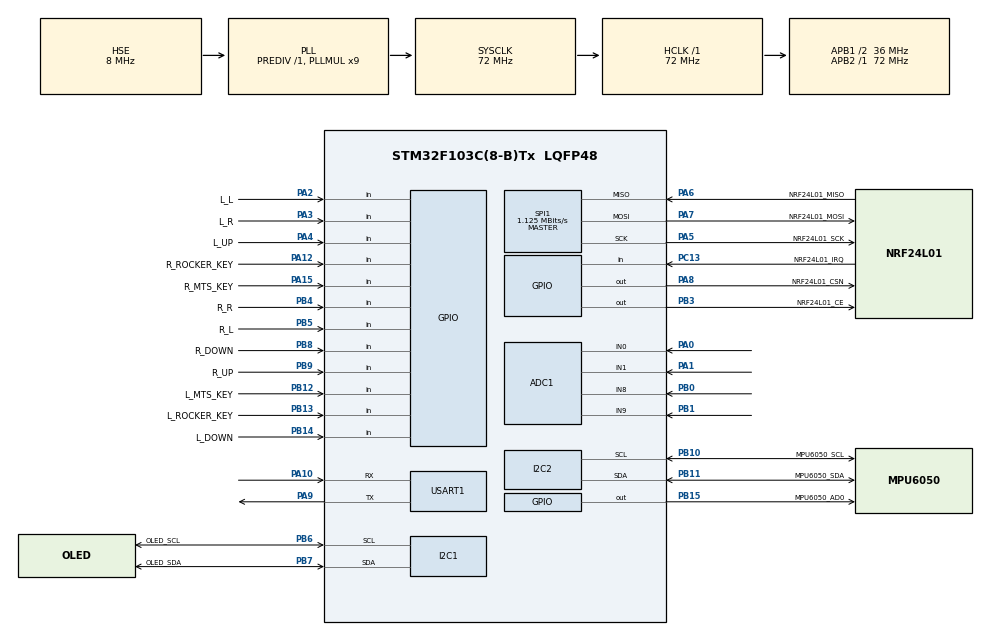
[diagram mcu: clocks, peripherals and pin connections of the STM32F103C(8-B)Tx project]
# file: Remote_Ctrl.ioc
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ADC1.Channel-1\#ChannelRegularConversion=ADC_CHANNEL_0
ADC1.Channel-2\#ChannelRegularConversion=ADC_CHANNEL_1
ADC1.Channel-3\#ChannelRegularConversion=ADC_CHANNEL_8
ADC1.Channel-4\#ChannelRegularConversion=ADC_CHANNEL_9
ADC1.ContinuousConvMode=DISABLE
ADC1.DataAlign=ADC_DATAALIGN_RIGHT
ADC1.DiscontinuousConvMode=DISABLE
ADC1.ExternalTrigConv=ADC_EXTERNALTRIGCONV_T3_TRGO
ADC1.NbrOfConversion=4
ADC1.NbrOfConversionFlag=1
ADC1.Rank-1\#ChannelRegularConversion=1
ADC1.Rank-2\#ChannelRegularConversion=2
ADC1.Rank-3\#ChannelRegularConversion=3
ADC1.Rank-4\#ChannelRegularConversion=4
ADC1.SamplingTime-1\#ChannelRegularConversion=ADC_SAMPLETIME_55CYCLES_5
ADC1.SamplingTime-2\#ChannelRegularConversion=ADC_SAMPLETIME_55CYCLES_5
ADC1.SamplingTime-3\#ChannelRegularConversion=ADC_SAMPLETIME_55CYCLES_5
ADC1.SamplingTime-4\#ChannelRegularConversion=ADC_SAMPLETIME_55CYCLES_5
ADC1.master=1
Dma.ADC1.0.Direction=DMA_PERIPH_TO_MEMORY
Dma.ADC1.0.Instance=DMA1_Channel1
Dma.ADC1.0.MemDataAlignment=DMA_MDATAALIGN_HALFWORD
Dma.ADC1.0.MemInc=DMA_MINC_ENABLE
Dma.ADC1.0.Mode=DMA_CIRCULAR
Dma.ADC1.0.PeriphDataAlignment=DMA_PDATAALIGN_HALFWORD
Dma.ADC1.0.PeriphInc=DMA_PINC_DISABLE
Dma.ADC1.0.Priority=DMA_PRIORITY_LOW
Dma.Request0=ADC1
Mcu.Family=STM32F1
Mcu.Name=STM32F103C(8-B)Tx
Mcu.Package=LQFP48
NVIC.DMA1_Channel1_IRQn=true\:14\:0\:true\:false\:true\:false\:true\:true
NVIC.PriorityGroup=NVIC_PRIORITYGROUP_4
NVIC.TIM1_UP_IRQn=true\:0\:0\:false\:false\:true\:true\:true\:true
NVIC.USART1_IRQn=true\:1\:0\:true\:false\:true\:true\:true\:true
PA0-WKUP.Signal=ADCx_IN0
PA1.Signal=ADCx_IN1
PA10.Mode=Asynchronous
PA10.Signal=USART1_RX
PA12.GPIO_Label=R_ROCKER_KEY
PA12.GPIO_PuPd=GPIO_PULLUP
PA12.Signal=GPIO_Input
PA13.Mode=Serial_Wire
PA13.Signal=SYS_JTMS-SWDIO
PA14.Mode=Serial_Wire
PA14.Signal=SYS_JTCK-SWCLK
PA15.GPIO_Label=R_MTS_KEY
PA15.GPIO_PuPd=GPIO_PULLUP
PA15.Signal=GPIO_Input
PA2.GPIO_Label=L_L
PA2.GPIO_PuPd=GPIO_PULLUP
PA2.Signal=GPIO_Input
PA3.GPIO_Label=L_R
PA3.GPIO_PuPd=GPIO_PULLUP
PA3.Signal=GPIO_Input
PA4.GPIO_Label=L_UP
PA4.GPIO_PuPd=GPIO_PULLUP
PA4.Signal=GPIO_Input
PA5.GPIO_Label=NRF24L01_SCK
PA5.Mode=Full_Duplex_Master
PA5.Signal=SPI1_SCK
PA6.GPIO_Label=NRF24L01_MISO
PA6.Mode=Full_Duplex_Master
PA6.Signal=SPI1_MISO
PA7.GPIO_Label=NRF24L01_MOSI
PA7.Mode=Full_Duplex_Master
PA7.Signal=SPI1_MOSI
PA8.GPIO_Label=NRF24L01_CSN
PA8.Signal=GPIO_Output
PA9.Mode=Asynchronous
PA9.Signal=USART1_TX
PB0.Signal=ADCx_IN8
PB1.Signal=ADCx_IN9
PB10.GPIO_Label=MPU6050_SCL
PB10.Mode=I2C
PB10.Signal=I2C2_SCL
PB11.GPIO_Label=MPU6050_SDA
PB11.Mode=I2C
PB11.Signal=I2C2_SDA
PB12.GPIO_Label=L_MTS_KEY
PB12.GPIO_PuPd=GPIO_PULLUP
PB12.Signal=GPIO_Input
PB13.GPIO_Label=L_ROCKER_KEY
PB13.GPIO_PuPd=GPIO_PULLUP
PB13.Signal=GPIO_Input
PB14.GPIO_Label=L_DOWN
PB14.GPIO_PuPd=GPIO_PULLUP
PB14.Signal=GPIO_Input
PB15.GPIO_Label=MPU6050_AD0
PB15.Signal=GPIO_Output
PB3.GPIO_Label=NRF24L01_CE
PB3.Signal=GPIO_Output
PB4.GPIO_Label=R_R
PB4.GPIO_PuPd=GPIO_PULLUP
PB4.Signal=GPIO_Input
PB5.GPIO_Label=R_L
PB5.GPIO_PuPd=GPIO_PULLUP
PB5.Signal=GPIO_Input
PB6.GPIO_Label=OLED_SCL
PB6.Mode=I2C
PB6.Signal=I2C1_SCL
PB7.GPIO_Label=OLED_SDA
PB7.Mode=I2C
PB7.Signal=I2C1_SDA
PB8.GPIO_Label=R_DOWN
PB8.GPIO_PuPd=GPIO_PULLUP
PB8.Signal=GPIO_Input
PB9.GPIO_Label=R_UP
PB9.GPIO_PuPd=GPIO_PULLUP
PB9.Signal=GPIO_Input
PC13-TAMPER-RTC.GPIO_Label=NRF24L01_IRQ
PC13-TAMPER-RTC.GPIO_PuPd=GPIO_PULLUP
PC13-TAMPER-RTC.Signal=GPIO_Input
PD0-OSC_IN.Mode=HSE-External-Oscillator
PD0-OSC_IN.Signal=RCC_OSC_IN
PD1-OSC_OUT.Mode=HSE-External-Oscillator
PD1-OSC_OUT.Signal=RCC_OSC_OUT
ProjectManager.HeapSize=0x200
ProjectManager.StackSize=0x400
ProjectManager.TargetToolchain=MDK-ARM V5
RCC.ADCPresc=RCC_ADCPCLK2_DIV6
RCC.AHBFreq_Value=72000000
RCC.APB1CLKDivider=RCC_HCLK_DIV2
RCC.APB1Freq_Value=36000000
RCC.APB1TimFreq_Value=72000000
RCC.APB2Freq_Value=72000000
RCC.APB2TimFreq_Value=72000000
RCC.HCLKFreq_Value=72000000
RCC.PLLMUL=RCC_PLL_MUL9
RCC.PLLSourceVirtual=RCC_PLLSOURCE_HSE
RCC.SYSCLKFreq_VALUE=72000000
RCC.SYSCLKSource=RCC_SYSCLKSOURCE_PLLCLK
RCC.USBFreq_Value=48000000
RCC.USBPrescaler=RCC_USBCLKSOURCE_PLL_DIV1_5
SH.ADCx_IN0.0=ADC1_IN0,IN0
SH.ADCx_IN1.0=ADC1_IN1,IN1
SH.ADCx_IN8.0=ADC1_IN8,IN8
SH.ADCx_IN9.0=ADC1_IN9,IN9
SPI1.BaudRatePrescaler=SPI_BAUDRATEPRESCALER_64
SPI1.CalculateBaudRate=1.125 MBits/s
SPI1.Direction=SPI_DIRECTION_2LINES
SPI1.Mode=SPI_MODE_MASTER
SPI1.VirtualType=VM_MASTER
TIM1.Period=1000-1
TIM1.Prescaler=72-1
TIM3.AutoReloadPreload=TIM_AUTORELOAD_PRELOAD_ENABLE
TIM3.Period=10-1
TIM3.Prescaler=72-1
TIM3.TIM_MasterOutputTrigger=TIM_TRGO_UPDATE
USART1.VirtualMode=VM_ASYNC
VP_TIM1_VS_ClockSourceINT.Mode=Internal
VP_TIM3_VS_ClockSourceINT.Mode=Internal
board=custom

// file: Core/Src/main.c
/* USER CODE BEGIN Header */
/**
  ******************************************************************************
  * @file           : main.c
  * @brief          : Main program body
  ******************************************************************************
  * @attention
  *
  * Copyright (c) 2023 STMicroelectronics.
  * All rights reserved.
  *
  * This software is licensed under terms that can be found in the LICENSE file
  * in the root directory of this software component.
  * If no LICENSE file comes with this software, it is provided AS-IS.
  *
  ******************************************************************************
  */
/* USER CODE END Header */
#include "main.h"
#include "adc.h"
#include "dma.h"
#include "i2c.h"
#include "spi.h"
#include "tim.h"
#include "usart.h"
#include "gpio.h"

/* USER CODE BEGIN Includes */
#include "Bsp_Usart.h"
#include "u8g2.h"
#include "KunUI.h"
#include "Bsp_Key.h"
#include "MPU6050.h"
#include "inv_mpu.h"
#include "inv_mpu_dmp_motion_driver.h"
#include "nrf24L01.h"
#include "Rocker.h"
/* USER CODE END Includes */
#pragma pack (4)

/* USER CODE BEGIN PD */
uint8_t u8g2_gpio_and_delay_stm32(U8X8_UNUSED u8x8_t *u8x8, U8X8_UNUSED uint8_t msg, U8X8_UNUSED uint8_t arg_int, U8X8_UNUSED void *arg_ptr);
uint8_t u8x8_byte_i2c(u8x8_t *u8x8, uint8_t msg, uint8_t arg_int, void *arg_ptr);
void draw(u8g2_t *u8g2);
void Kun_Basketball(u8g2_t *u8g2);
/* USER CODE END PD */

/* USER CODE BEGIN PV */
uint16_t ADC_Buff[4]={0};   //摇杆电位器值
float pitch,roll,yaw; 		  //欧拉角
short aacx,aacy,aacz;				//加速度传感器原始数据
short gyrox,gyroy,gyroz;		//陀螺仪原始数据

uint8_t KeyNum_Data[8];   //按键数据
float Mpu6050_Data[22]; 	//陀螺仪数据
uint8_t L_Rocker_Data[11];//左摇杆数据
uint8_t R_Rocker_Data[11];//右摇杆数据
short Speed_Data[8];		  //小车速度数据
uint8_t Mode_Data[3];			//控制模式数据
uint8_t Send_Data[33];		//遥控器下发数据

uint8_t Keynum = 0;			//按键值
short Speed = 0;				//电机初始速度
uint8_t Mode = 0;       //控制模式 0：摇杆 1：陀螺仪 2：按键
/* USER CODE END PV */

void SystemClock_Config(void);
/* USER CODE BEGIN PFP */
typedef void (*app)(void);
/* USER CODE END PFP */

/* USER CODE BEGIN 0 */

/**
  *@breif      定时器回调函数
	*@param      htim:定时器句柄
  *@retval     none
  */
void HAL_TIM_PeriodElapsedCallback(TIM_HandleTypeDef *htim)
{
	static uint8_t i = 0;
	static uint8_t Now_KeyNum = 0;
	static uint8_t Last_KeyNum = 0;
	if(htim->Instance == TIM1)//1ms定时
	{
		i++;i%=20;
		if(i == 0)//20ms
		{
			Last_KeyNum = Now_KeyNum;
			Now_KeyNum = Key_Read();
			if(Now_KeyNum == Last_KeyNum)
			{
				Keynum = Now_KeyNum;
			}
		}

	}
}

/* USER CODE END 0 */

int main(void)
{

  /* MCU Configuration--------------------------------------------------------*/

  /* Reset of all peripherals, Initializes the Flash interface and the Systick. */
  HAL_Init();

  /* Configure the system clock */
  SystemClock_Config();

  /* Initialize all configured peripherals */
  MX_GPIO_Init();
  MX_DMA_Init();
  MX_USART1_UART_Init();
  MX_I2C1_Init();
  MX_TIM1_Init();
  MX_I2C2_Init();
  MX_SPI1_Init();
  MX_ADC1_Init();
  MX_TIM3_Init();
  /* USER CODE BEGIN 2 */

	HAL_UART_Receive_IT(&huart1,(uint8_t *)RxBuffer,1);//开启串口1接收中断

	HAL_TIM_Base_Start_IT(&htim1);										 //开始定时器1中断(1ms)

	HAL_TIM_Base_Start(&htim3);												 //定时器触发ADC
	HAL_ADCEx_Calibration_Start(&hadc1);							 //校准ADC
	HAL_ADC_Start_DMA(&hadc1,(uint32_t *)ADC_Buff,4);  //开启DMA

	MPU_Init();			  //MPU6050初始化
  mpu_dmp_init();		//dmp初始化

	u8g2_t u8g2;
	u8g2_Setup_ssd1306_i2c_128x64_noname_f(&u8g2, U8G2_R0, u8x8_byte_i2c, u8g2_gpio_and_delay_stm32);
	u8g2_InitDisplay(&u8g2); 		 // send init sequence to the display, display is in sleep mode after this,
	u8g2_SetPowerSave(&u8g2, 0); // wake up display
	u8g2_ClearBuffer(&u8g2);

	draw(&u8g2);		//画U8G2库LOGO
	u8g2_ClearBuffer(&u8g2);
	u8g2_SetFont(&u8g2,u8g2_font_ncenB08_tr);//设置U8G2显示字体

	while(NRF24L01_Check())//开机自检2.4G模块
	{
		u8g2_ClearBuffer(&u8g2);
		u8g2_DrawUTF8(&u8g2,0,32,"NRF24L01 NOT EXIST");
		u8g2_SendBuffer(&u8g2);
		HAL_Delay(500);
	}
	NRF24L01_TX_Mode();//设置为发送模式

  /* USER CODE END 2 */

  /* Infinite loop */
  /* USER CODE BEGIN WHILE */
  while (1)
  {
		if(Keynum == 9)
		{
			Speed += 1;
			if(Speed > 10) Speed = 0;
		}
		else if(Keynum == 10)
		{
			Speed -= 1;
			if(Speed < 0) Speed = 10;
		}
		if(Read_L_MTS() == UP && Read_R_MTS() == UP)//摇杆模式
		{
			Mode = 0;
			sprintf((char *)Mode_Data,":%d",Mode);

			u8g2_ClearBuffer(&u8g2);
			u8g2_DrawUTF8(&u8g2,26,8,"Mode:Rocker");

			sprintf((char *)Speed_Data,"Speed:%d",Speed);
			u8g2_DrawUTF8(&u8g2,0,20,(char *)Speed_Data);

			sprintf((char *)L_Rocker_Data,"X:%d  Y:%d",L_ROCKER_X/100,L_ROCKER_Y/100);
			u8g2_DrawUTF8(&u8g2,0,32,(char *)L_Rocker_Data);

			sprintf((char *)R_Rocker_Data,"X:%d  Y:%d",R_ROCKER_X/100,R_ROCKER_Y/100);
			u8g2_DrawUTF8(&u8g2,0,44,(char *)R_Rocker_Data);

			//把摇杆按键值和摇杆电位器数据拼接成一个字符串下发给下位机
			sprintf((char *)Send_Data,"%s%s%s%s",Mode_Data,(char *)Speed_Data,L_Rocker_Data,R_Rocker_Data);
			u8g2_SendBuffer(&u8g2);

		}
		else if(Read_L_MTS() == DOWN && Read_R_MTS() == DOWN)//陀螺仪模式
		{
			Mode = 1;
			sprintf((char *)Mode_Data,":%d",Mode);

			u8g2_ClearBuffer(&u8g2);
			u8g2_DrawUTF8(&u8g2,20,8,"Mode:Mpu6050");

			sprintf((char *)Speed_Data,"S:%d%%",Speed);
			u8g2_DrawUTF8(&u8g2,0,20,(char *)Speed_Data);

			while(mpu_dmp_get_data(&pitch, &roll, &yaw));	//必须要用while等待，才能读取成功
			MPU_Get_Accelerometer(&aacx,&aacy, &aacz);		//得到加速度传感器数据
			MPU_Get_Gyroscope(&gyrox, &gyroy, &gyroz);		//得到陀螺仪数据

			printf("%.1f,%.1f,%.1f \r\n",roll,pitch,yaw);

			sprintf((char *)Mpu6050_Data,"X:%.1f    Y:%.1f    Z:%.1f",roll,pitch,yaw);
			strcpy((char *)Send_Data,(char *)Mode_Data);
			strcat((char *)Send_Data,(char *)Mpu6050_Data);

			u8g2_DrawUTF8(&u8g2,0,32,(char *)Mpu6050_Data);

			u8g2_SendBuffer(&u8g2);
		}
		else if(Read_L_MTS() == UP && Read_R_MTS() == DOWN)//按键模式
		{
			Mode = 2;
			sprintf((char *)Mode_Data,":%d",Mode);

			u8g2_ClearBuffer(&u8g2);
			u8g2_DrawUTF8(&u8g2,28,8,"Mode:Key");

			sprintf((char *)Speed_Data,"S:%d%%",Speed);
			u8g2_DrawUTF8(&u8g2,0,20,(char *)Speed_Data);

			sprintf((char *)Mode_Data,":%d",Mode);
			sprintf((char *)KeyNum_Data,"Num:%d",Key_Read());

			strcpy((char *)Send_Data,(char *)Mode_Data);
			strcat((char *)Send_Data,(char *)KeyNum_Data);

			u8g2_DrawUTF8(&u8g2,0,32,(char *)KeyNum_Data);
			u8g2_SendBuffer(&u8g2);
		}
		else
		{
			u8g2_ClearBuffer(&u8g2);
			u8g2_DrawUTF8(&u8g2,16,8,"Mode Select Error");
			u8g2_SendBuffer(&u8g2);
		}
    if(NRF24L01_TxPacket(Send_Data)==TX_OK)
    {
			memset(Send_Data,0,sizeof(Send_Data));
    }

    /* USER CODE END WHILE */

  }
}

void SystemClock_Config(void)
{
  RCC_OscInitTypeDef RCC_OscInitStruct = {0};
  RCC_ClkInitTypeDef RCC_ClkInitStruct = {0};
  RCC_PeriphCLKInitTypeDef PeriphClkInit = {0};

  /** Initializes the RCC Oscillators according to the specified parameters
  * in the RCC_OscInitTypeDef structure.
  */
  RCC_OscInitStruct.OscillatorType = RCC_OSCILLATORTYPE_HSE;
  RCC_OscInitStruct.HSEState = RCC_HSE_ON;
  RCC_OscInitStruct.HSEPredivValue = RCC_HSE_PREDIV_DIV1;
  RCC_OscInitStruct.HSIState = RCC_HSI_ON;
  RCC_OscInitStruct.PLL.PLLState = RCC_PLL_ON;
  RCC_OscInitStruct.PLL.PLLSource = RCC_PLLSOURCE_HSE;
  RCC_OscInitStruct.PLL.PLLMUL = RCC_PLL_MUL9;
  if (HAL_RCC_OscConfig(&RCC_OscInitStruct) != HAL_OK)
  {
    Error_Handler();
  }

  /** Initializes the CPU, AHB and APB buses clocks
  */
  RCC_ClkInitStruct.ClockType = RCC_CLOCKTYPE_HCLK|RCC_CLOCKTYPE_SYSCLK
                              |RCC_CLOCKTYPE_PCLK1|RCC_CLOCKTYPE_PCLK2;
  RCC_ClkInitStruct.SYSCLKSource = RCC_SYSCLKSOURCE_PLLCLK;
  RCC_ClkInitStruct.AHBCLKDivider = RCC_SYSCLK_DIV1;
  RCC_ClkInitStruct.APB1CLKDivider = RCC_HCLK_DIV2;
  RCC_ClkInitStruct.APB2CLKDivider = RCC_HCLK_DIV1;

  if (HAL_RCC_ClockConfig(&RCC_ClkInitStruct, FLASH_LATENCY_2) != HAL_OK)
  {
    Error_Handler();
  }
  PeriphClkInit.PeriphClockSelection = RCC_PERIPHCLK_ADC;
  PeriphClkInit.AdcClockSelection = RCC_ADCPCLK2_DIV6;
  if (HAL_RCCEx_PeriphCLKConfig(&PeriphClkInit) != HAL_OK)
  {
    Error_Handler();
  }
}

/* USER CODE BEGIN 4 */

/**
  *@breif      IO口和延时初始化
  *@param      none
  *@retval     none
  */
uint8_t u8g2_gpio_and_delay_stm32(U8X8_UNUSED u8x8_t *u8x8, U8X8_UNUSED uint8_t msg, U8X8_UNUSED uint8_t arg_int, U8X8_UNUSED void *arg_ptr)
{
	switch(msg)
		{
			//Function which implements a delay, arg_int contains the amount of ms
			case U8X8_MSG_DELAY_MILLI:
			{
				HAL_Delay(arg_int);
				break;
			}
			//Function which delays 10us
			case U8X8_MSG_DELAY_10MICRO:
			{
				for(uint16_t n=0;n<320;n++)
				{
					__NOP();
				}
				break;
			}
			//Function which delays 100ns
			case U8X8_MSG_DELAY_100NANO:
			{
				__NOP();
				break;
			}
			default:
				return 0; //A message was received which is not implemented, return 0 to indicate an error
	}
	return 1; // command processed successfully.
}

/**
  *@breif      硬件I2C
  *@param      none
  *@retval     none
  */
uint8_t u8x8_byte_i2c(u8x8_t *u8x8, uint8_t msg, uint8_t arg_int, void *arg_ptr)
{
  static uint8_t buffer[32];		/* u8g2/u8x8 will never send more than 32 bytes between START_TRANSFER and END_TRANSFER */
  static uint8_t buf_idx;
  uint8_t *data;

  switch(msg)
  {
    case U8X8_MSG_BYTE_SEND:
      data = (uint8_t *)arg_ptr;
      while( arg_int > 0 )
      {
				buffer[buf_idx++] = *data;
				data++;
				arg_int--;
      }
      break;
    case U8X8_MSG_BYTE_INIT:
      /* add your custom code to init i2c subsystem */
      break;
    case U8X8_MSG_BYTE_SET_DC:
      /* ignored for i2c */
      break;
    case U8X8_MSG_BYTE_START_TRANSFER:
      buf_idx = 0;
      break;
    case U8X8_MSG_BYTE_END_TRANSFER:
			HAL_I2C_Master_Transmit(&hi2c1,u8x8_GetI2CAddress(u8x8),buffer,buf_idx,1000);
      break;
    default:
      return 0;
  }
  return 1;
}

/**
  *@breif      画U8g2库的logo
  *@param      none
  *@retval     none
  */
void draw(u8g2_t *u8g2)
{
		u8g2_ClearBuffer(u8g2);
    u8g2_SetFontMode(u8g2, 1);
    u8g2_SetFontDirection(u8g2, 0);
    u8g2_SetFont(u8g2, u8g2_font_inb24_mf);
    u8g2_DrawStr(u8g2, 0, 20, "U");

    u8g2_SetFontDirection(u8g2, 1);
    u8g2_SetFont(u8g2, u8g2_font_inb30_mn);
    u8g2_DrawStr(u8g2, 21,8,"8");

    u8g2_SetFontDirection(u8g2, 0);
    u8g2_SetFont(u8g2, u8g2_font_inb24_mf);
    u8g2_DrawStr(u8g2, 51,30,"g");
    u8g2_DrawStr(u8g2, 67,30,"\xb2");

    u8g2_DrawHLine(u8g2, 2, 35, 47);
    u8g2_DrawHLine(u8g2, 3, 36, 47);
    u8g2_DrawVLine(u8g2, 45, 32, 12);
    u8g2_DrawVLine(u8g2, 46, 33, 12);

    u8g2_SetFont(u8g2, u8g2_font_4x6_tr);
    u8g2_DrawStr(u8g2, 1,54,"github.com/olikraus/u8g2");

	u8g2_SendBuffer(u8g2);
	HAL_Delay(1000);
}

void Kun_Basketball(u8g2_t *u8g2)
{
		u8g2_ClearBuffer(u8g2);
		u8g2_DrawXBMP(u8g2,0,0,128,59,Kun_1);
		u8g2_SendBuffer(u8g2);HAL_Delay(50);

		u8g2_ClearBuffer(u8g2);
		u8g2_DrawXBMP(u8g2,0,0,128,59,Kun_2);
		u8g2_SendBuffer(u8g2);HAL_Delay(50);

		u8g2_ClearBuffer(u8g2);
		u8g2_DrawXBMP(u8g2,0,0,128,59,Kun_3);
		u8g2_SendBuffer(u8g2);HAL_Delay(50);

		u8g2_ClearBuffer(u8g2);
		u8g2_DrawXBMP(u8g2,0,0,128,59,Kun_4);
		u8g2_SendBuffer(u8g2);HAL_Delay(50);

		u8g2_ClearBuffer(u8g2);
		u8g2_DrawXBMP(u8g2,0,0,128,59,Kun_5);
		u8g2_SendBuffer(u8g2);HAL_Delay(50);
}

/* USER CODE END 4 */

void Error_Handler(void)
{
  __disable_irq();
  while (1)
  {
  }
}
